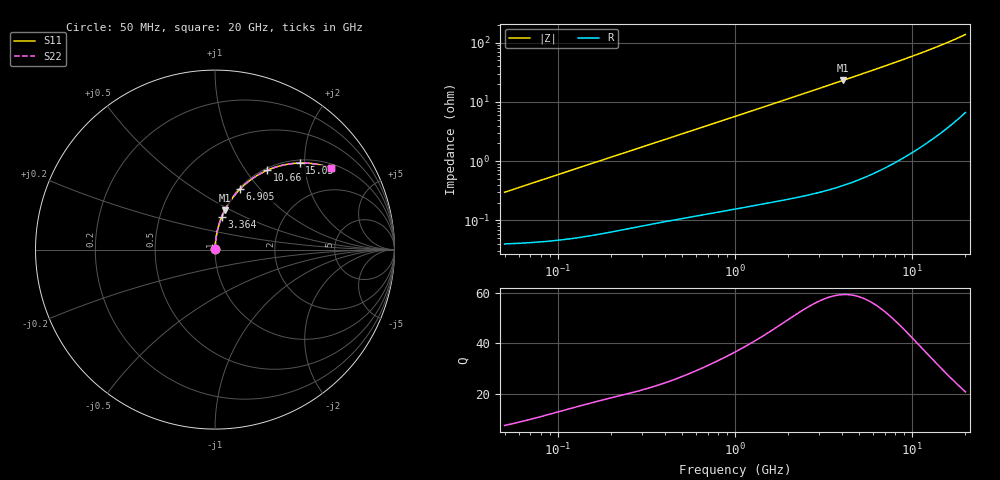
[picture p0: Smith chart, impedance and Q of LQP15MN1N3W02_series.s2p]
!Murata Part Number: LQP15MN1N3W02
!These Parameters are Measured in Series Mode Connection
!  o--[Z]--o
!Port1  Port2
!  o-------o
!Freq. Start=50[MHz] Stop=20[GHz], 401[Steps]
# Hz S RI R 50
!Freq.(Hz) S11(Real) S11(Imag) S21(Real) S21(Imag) S12(Real) S12(Imag) S22(Real) S22(Imag)
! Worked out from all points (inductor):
!   401 points, 50 MHz to 20 GHz, reference 50 ohm
!   read as one part in series: L = 944 pH near 51.52 MHz
!   highest Q = 59.4 at 4.088 GHz (marker M1), where L = 902 pH
!   S11 on the Smith chart (normalised r, x): 50 MHz: 1.00, +0.01; 3.364 GHz: 1.01, +0.38; 6.905 GHz: 1.01, +0.79; 10.66 GHz: 1.03, +1.26; 15.05 GHz: 1.06, +1.88; 20 GHz: 1.13, +2.74
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5e7  0.000411 0.00297  0.9996 -0.00297  0.9996 -0.00297  0.000411 0.00297
5.152053e7  0.000413 0.00306  0.9996 -0.00306  0.9996 -0.00306  0.000413 0.00306
1.364002e8  0.000588 0.00803  0.9994 -0.00803  0.9994 -0.00803  0.000588 0.00803
3.721004e8  0.00138 0.0215  0.9986 -0.0215  0.9986 -0.0215  0.00138 0.0215
6.380365e8  0.00255 0.0364  0.9975 -0.0364  0.9975 -0.0364  0.00255 0.0364
1e9  0.00476 0.0565  0.9952 -0.0565  0.9952 -0.0565  0.00476 0.0565
1.329223e9  0.00743 0.0747  0.9926 -0.0747  0.9926 -0.0747  0.00743 0.0747
1.714689e9  0.0114 0.0957  0.9886 -0.0957  0.9886 -0.0957  0.0114 0.0957
2.179053e9  0.0172 0.1207  0.9828 -0.1207  0.9828 -0.1207  0.0172 0.1207
2.728004e9  0.0258 0.1498  0.9742 -0.1498  0.9742 -0.1498  0.0258 0.1498
3.364474e9  0.0379 0.1825  0.9621 -0.1825  0.9621 -0.1825  0.0379 0.1825
4.087748e9  0.0542 0.2182  0.9458 -0.2182  0.9458 -0.2182  0.0542 0.2182
5.433528e9  0.0914 0.2797  0.9086 -0.2797  0.9086 -0.2797  0.0914 0.2797
6.905011e9  0.1405 0.3382  0.8595 -0.3382  0.8595 -0.3382  0.1405 0.3382
7.442007e9  0.1601 0.3571  0.8399 -0.3571  0.8399 -0.3571  0.1601 0.3571
8.907419e9  0.2173 0.4016  0.7827 -0.4016  0.7827 -0.4016  0.2173 0.4016
1.066139e10  0.2898 0.4414  0.7102 -0.4414  0.7102 -0.4414  0.2898 0.4414
1.276073e10  0.3781 0.4706  0.6219 -0.4706  0.6219 -0.4706  0.3781 0.4706
1.504638e10  0.4712 0.4823  0.5288 -0.4823  0.5288 -0.4823  0.4712 0.4823
1.721783e10  0.5534 0.4776  0.4466 -0.4776  0.4466 -0.4776  0.5534 0.4776
1.940974e10  0.6282 0.4607  0.3718 -0.4607  0.3718 -0.4607  0.6282 0.4607
2e10  0.6469 0.4545  0.3531 -0.4545  0.3531 -0.4545  0.6469 0.4545
